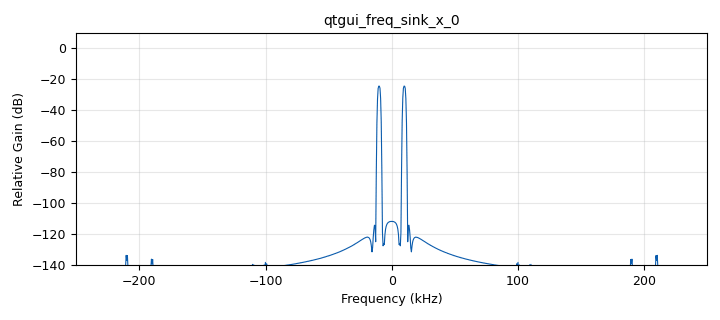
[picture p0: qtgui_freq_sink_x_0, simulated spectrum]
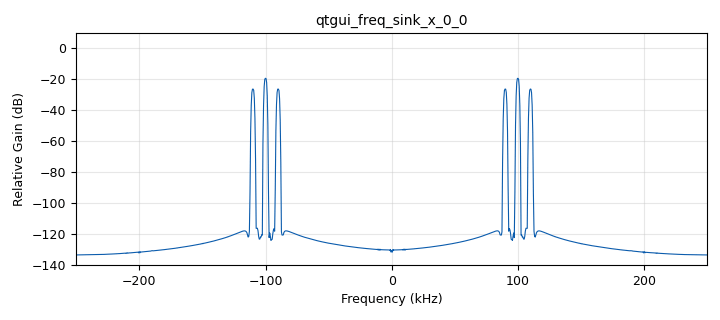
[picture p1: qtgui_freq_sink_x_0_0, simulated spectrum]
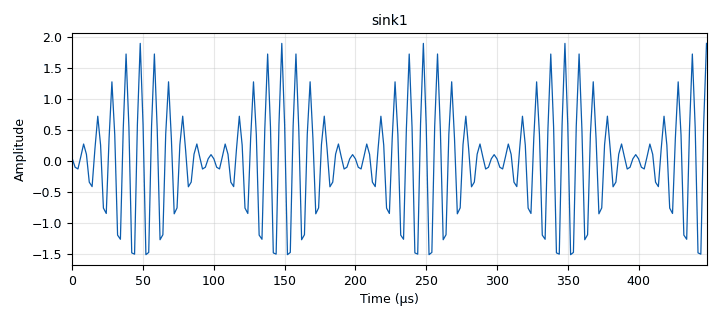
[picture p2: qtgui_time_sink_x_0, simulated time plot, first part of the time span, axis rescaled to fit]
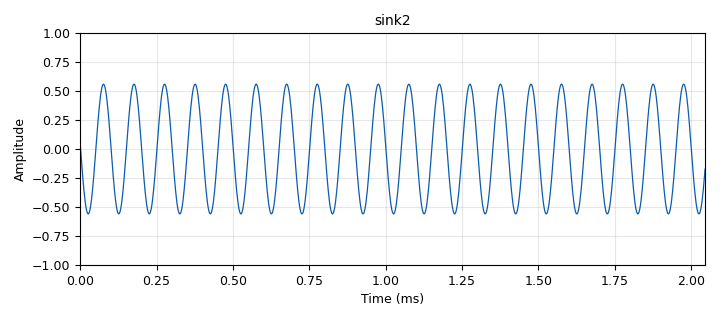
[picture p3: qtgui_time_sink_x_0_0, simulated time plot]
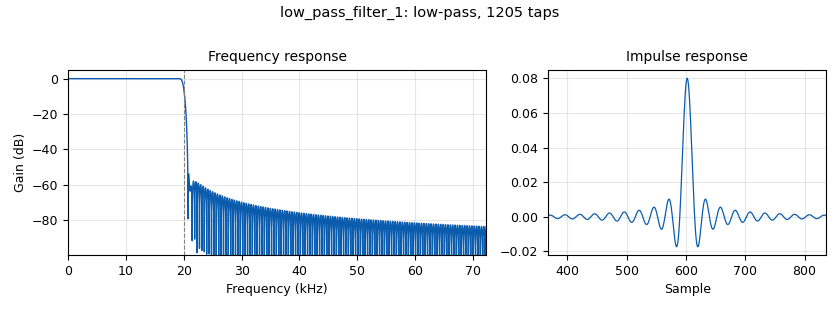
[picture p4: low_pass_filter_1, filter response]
options:
  parameters:
    generate_options: qt_gui
    id: untitled
    output_language: python
    title: Not titled yet
  states: {}

blocks:
- name: samp_rate
  id: variable
  parameters:
    value: '500000'
  states: {}
- name: analog_sig_source_x_0
  id: analog_sig_source_x
  parameters:
    amp: '1'
    freq: '10000'
    offset: '0'
    phase: '0'
    samp_rate: samp_rate
    type: float
    waveform: analog.GR_COS_WAVE
  states: {}
- name: analog_sig_source_x_0_0
  id: analog_sig_source_x
  parameters:
    amp: '1'
    freq: '100000'
    offset: '0'
    phase: '0'
    samp_rate: samp_rate
    type: float
    waveform: analog.GR_COS_WAVE
  states: {}
- name: blocks_abs_xx_0
  id: blocks_abs_xx
  parameters:
    type: float
  states: {}
- name: blocks_add_const_vxx_0
  id: blocks_add_const_vxx
  parameters:
    const: '1'
    type: float
  states: {}
- name: blocks_multiply_const_vxx_0
  id: blocks_multiply_const_vxx
  parameters:
    const: '0.9'
    type: float
  states: {}
- name: blocks_multiply_xx_0
  id: blocks_multiply_xx
  parameters:
    type: float
  states: {}
- name: blocks_throttle2_0
  id: blocks_throttle2
  parameters:
    samples_per_second: samp_rate
    type: float
  states: {}
- name: dc_blocker_xx_0
  id: dc_blocker_xx
  parameters:
    length: '32'
    long_form: 'True'
    type: ff
  states: {}
- name: low_pass_filter_0
  id: low_pass_filter
  parameters:
    decim: '1'
    gain: '1'
    samp_rate: samp_rate
    type: fir_filter_ccf
    win: window.WIN_HAMMING
  states: {state: disabled}
- name: low_pass_filter_1
  id: low_pass_filter
  parameters:
    cutoff_freq: 20e3
    gain: '1'
    interp: '1'
    samp_rate: samp_rate
    type: interp_fir_filter_fff
    width: 1e3
    win: window.WIN_HAMMING
  states: {}
- name: qtgui_freq_sink_x_0
  id: qtgui_freq_sink_x
  parameters:
    bw: samp_rate
    fc: '0'
    fftsize: '1024'
    gui_hint: tab@3
    type: float
    wintype: window.WIN_FLATTOP
  states: {}
- name: qtgui_freq_sink_x_0_0
  id: qtgui_freq_sink_x
  parameters:
    average: '0.05'
    bw: samp_rate
    fc: '0'
    fftsize: '1024'
    gui_hint: tab@1
    type: float
    wintype: window.WIN_FLATTOP
  states: {}
- name: qtgui_time_sink_x_0
  id: qtgui_time_sink_x
  parameters:
    entags: 'False'
    gui_hint: tab@0
    name: sink1
    size: '1024'
    srate: samp_rate
    type: float
  states: {}
- name: qtgui_time_sink_x_0_0
  id: qtgui_time_sink_x
  parameters:
    entags: 'False'
    gui_hint: tab@2
    name: sink2
    size: '1024'
    srate: samp_rate
    type: float
  states: {}
- name: tab
  id: qtgui_tab_widget
  parameters:
    label0: Modulated
    label1: Modulated (freq)
    label2: Demodulated
    label3: Demodulated (freq)
    num_tabs: '4'
  states: {}

connections:
- [analog_sig_source_x_0, '0', blocks_multiply_const_vxx_0, '0']
- [analog_sig_source_x_0_0, '0', blocks_multiply_xx_0, '0']
- [blocks_abs_xx_0, '0', low_pass_filter_1, '0']
- [blocks_add_const_vxx_0, '0', blocks_multiply_xx_0, '1']
- [blocks_multiply_const_vxx_0, '0', blocks_add_const_vxx_0, '0']
- [blocks_multiply_xx_0, '0', blocks_throttle2_0, '0']
- [blocks_throttle2_0, '0', blocks_abs_xx_0, '0']
- [blocks_throttle2_0, '0', qtgui_freq_sink_x_0_0, '0']
- [blocks_throttle2_0, '0', qtgui_time_sink_x_0, '0']
- [dc_blocker_xx_0, '0', qtgui_freq_sink_x_0, '0']
- [dc_blocker_xx_0, '0', qtgui_time_sink_x_0_0, '0']
- [low_pass_filter_1, '0', dc_blocker_xx_0, '0']

metadata:
  file_format: 1
  grc_version: 3.10.7.0
